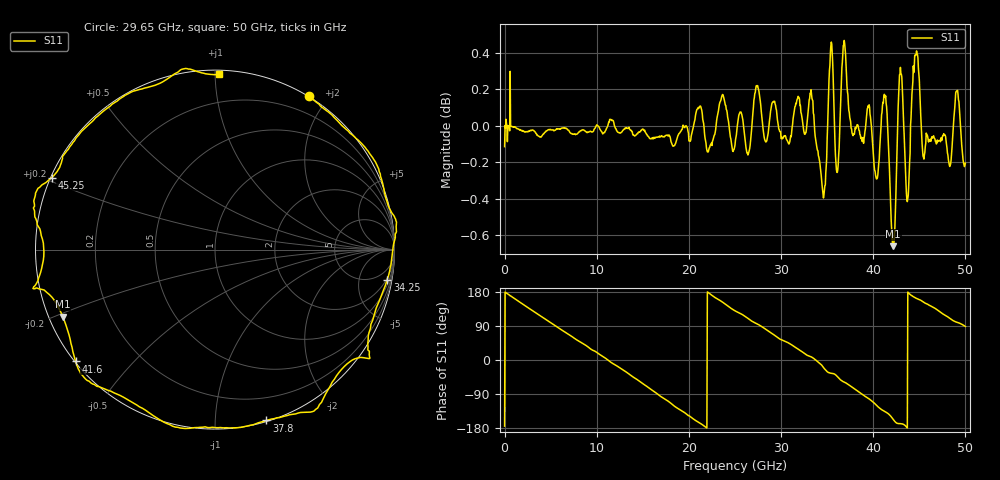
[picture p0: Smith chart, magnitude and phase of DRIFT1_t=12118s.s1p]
!Created with skrf (http://scikit-rf.org).
# Hz S RI R 50.0
!freq ReS11 ImS11
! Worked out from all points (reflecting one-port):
!   1001 points, 300 kHz to 50 GHz, reference 50 ohm
!   lowest |S11| = -0.7 dB at 42.15 GHz (marker M1), VSWR 26.33, Z = 1.98 - j10.5 ohm
!   phase of S11 starts at -174 deg and turns -817 deg over the sweep
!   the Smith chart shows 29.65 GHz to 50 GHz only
!   S11 on the Smith chart (normalised r, x): 29.65 GHz: -0.00, +1.79; 34.25 GHz: 2, -11; 37.8 GHz: 0.01, -1.34; 41.6 GHz: 0.00, -0.35; 45.25 GHz: 0.00, +0.21; 50 GHz: 0.02, +1.02
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300000  -0.9823 -0.0948
1.500291e9  -0.9057 0.4187
3.30028e9  -0.5805 0.8095
6.250262e9  0.2027 0.9778
9.500243e9  0.8923 0.4426
1.250022e10  0.9318 -0.3499
1.580021e10  0.2369 -0.9631
1.74002e10  -0.2242 -0.9678
1.875019e10  -0.5986 -0.7921
2.150017e10  -0.9927 -0.1498
2.350016e10  -0.9225 0.4278
2.500015e10  -0.6324 0.7589
2.740014e10  -0.0931 1.021
2.965012e10  0.524 0.8541
3.125011e10  0.7862 0.6194
3.31001e10  1.002 0.1779
3.425009e10  0.9601 -0.1669
3.520009e10  0.8598 -0.5658
3.750008e10  0.3737 -0.9315
3.780007e10  0.2855 -0.9518
3.955006e10  -0.2215 -0.9887
4.160005e10  -0.7767 -0.623
4.215005e10  -0.8479 -0.3743
4.290004e10  -1.01 -0.2184
4.375004e10  -0.9548 0.0141
4.525003e10  -0.9103 0.401
4.770001e10  -0.4892 0.8655
5e10  0.0243 0.9763
